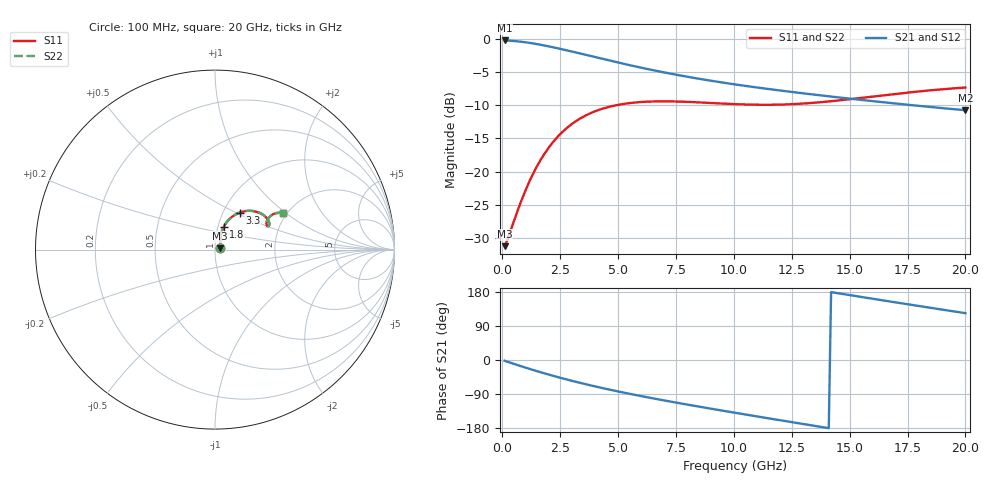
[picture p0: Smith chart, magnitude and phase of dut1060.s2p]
! Touchstone file exported from HFSS 2024.1.0
!  File:  C:/UserFiles/LocalFiles/RDL_TSV_Batchsim/temp_RDL_TSV_1060_1780090562.aedt
!  Generated:  05:49:17 AM May 30, 2026
!  Design:  RDL_TSV
!  Project:  temp_RDL_TSV_1060_1780090562
!  Setup:  Setup1
!  Solution:  Sweep
! Variables:
!  dtsv = 12.77um
!  hbump = 3um
!  htsv = 64.85um
!  ldown = 501.32um
!  lrdl = 475.66um
!  p = 40
!  p1 = 46.8um
!  rhole = 10um
!  subl = 3406.6um
!  t = 450um
!  tdown = 4.75um
!  trdl = 3.49um
!  viad = 10um
!  wdown = 13.38um
!  wrdl = 10.32um
!  xbump = 18um
# GHz S MA R 50.000000
! Terminal data exported
! Port[1] = TM1_1_T1
! Port[2] = TM1_4_T1
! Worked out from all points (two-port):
!   200 points, 100 MHz to 20 GHz, reference 50 ohm
!   highest |S21| = -0.24 dB at 100 MHz (marker M1); lowest = -10.8 dB at 20 GHz (marker M2)
!   |S21| within 3 dB of the highest: start of sweep to 4.599 GHz
!   lowest |S11| = -31.3 dB at 100 MHz (marker M3), VSWR 1.06, Z = 52.7 + j0.697 ohm
!   |S11| at or under -10 dB: start of sweep to 4.923 GHz
!   |S22| runs from -31.3 to -7.3 dB; largest |S21 - S12| = 9.2e-14
!   S11 on the Smith chart (normalised r, x): 100 MHz: 1.05, +0.01; 1.8 GHz: 1.06, +0.27; 3.3 GHz: 1.19, +0.52; 20 GHz: 1.91, +0.95
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0.1  0.02738 14.0  0.9731 -2.1  0.9731 -2.1  0.02738 14.0
! Gamma 0 0 0 0
! Port Impedance 50 0 50 0
0.2  0.02993 25.8  0.9719 -4.2  0.9719 -4.2  0.02993 25.8
0.5  0.04223 48.6  0.9642 -10.3  0.9642 -10.3  0.04222 48.6
1  0.07194 65.2  0.9429 -20.1  0.9429 -20.1  0.07194 65.3
1.4  0.1018 69.2  0.92 -27.6  0.92 -27.6  0.1018 69.3
1.8  0.1344 69.1  0.8933 -34.9  0.8933 -34.9  0.1345 69.2
2.1  0.1593 67.5  0.8717 -40.2  0.8717 -40.2  0.1594 67.6
2.5  0.1914 64.3  0.8416 -46.9  0.8416 -46.9  0.1916 64.4
3.3  0.2474 56.3  0.7808 -59.5  0.7808 -59.5  0.2476 56.4
3.5  0.2591 54.3  0.7659 -62.4  0.7659 -62.4  0.2594 54.4
4.2  0.2927 47.5  0.7157 -72.4  0.7157 -72.4  0.2932 47.6
5.1  0.3205 39.9  0.6573 -84.3  0.6573 -84.3  0.321 40.0
5.9  0.3333 34.4  0.6116 -94.1  0.6116 -94.1  0.334 34.5
6.8  0.3382 29.7  0.5672 -104.6  0.5672 -104.6  0.339 29.8
8.4  0.3327 24.7  0.5037 -122.1  0.5037 -122.1  0.3337 24.8
10.1  0.3219 23.7  0.4524 -139.8  0.4524 -139.8  0.3231 23.8
11.7  0.3188 25.7  0.4145 -156.0  0.4145 -156.0  0.32 25.6
13.4  0.3293 28.8  0.3812 -173.0  0.3812 -173.0  0.3304 28.7
15  0.3508 30.8  0.3544 171.3  0.3544 171.3  0.3516 30.7
16.7  0.3797 31.3  0.3295 154.8  0.3295 154.8  0.3803 31.1
18.3  0.4065 30.3  0.3089 139.5  0.3089 139.5  0.4069 30.2
20  0.4298 28.3  0.2899 123.6  0.2899 123.6  0.4299 28.1
